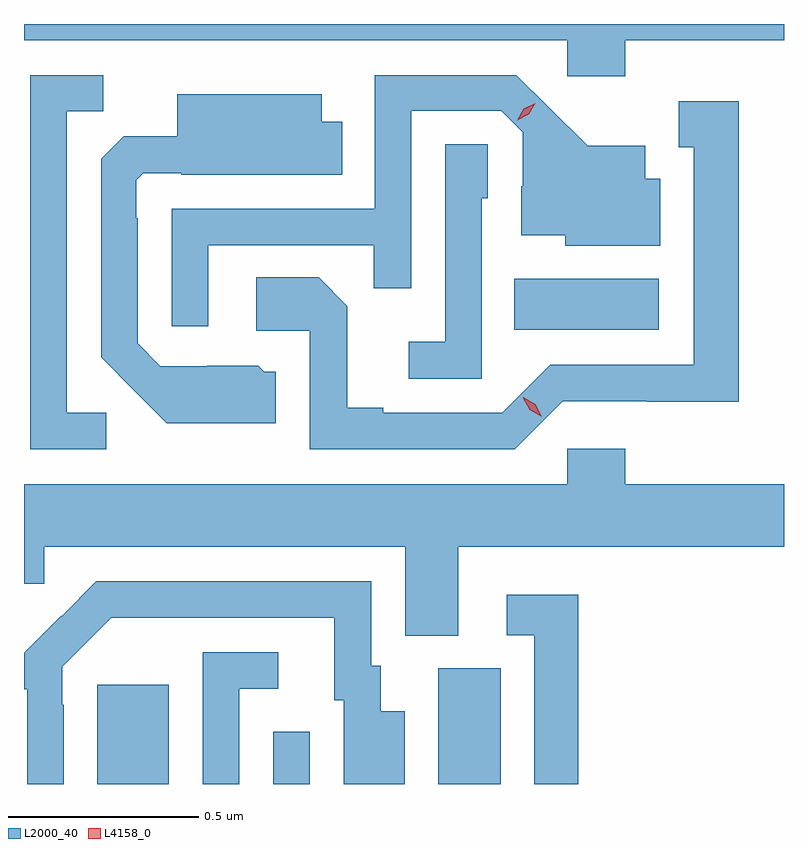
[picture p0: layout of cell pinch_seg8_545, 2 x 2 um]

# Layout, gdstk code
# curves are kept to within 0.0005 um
import gdstk
lib = gdstk.Library(unit=1e-6, precision=1e-09)
def R(c, l, rs):  # rectangles x0, y0, x1, y1
    for r in rs: c.add(gdstk.rectangle(r[:2], r[2:], *l))
def P(c, l, *ps):  # polygons
    for p in ps: c.add(gdstk.Polygon(p, *l))
L2000_40 = (2000, 40)
L4158_0 = (4158, 0)

pinch_seg8_545 = lib.new_cell('pinch_seg8_545')
R(pinch_seg8_545, L2000_40, [(118.067,1103.887,118.255,1104.148), (118.53,1103.887,118.626,1104.025), (118.964,1103.887,119.128,1104.192), (119.164,1105.082,119.545,1105.216)])
P(pinch_seg8_545, L2000_40, [(119.456,1105.844),(119.874,1105.844),(119.874,1105.887),(117.874,1105.887),(117.874,1105.844),(119.304,1105.844),(119.304,1105.749),(119.456,1105.749)],
  [(118.09,1104.864),(117.987,1104.864),(117.987,1105.657),(118.083,1105.657),(118.083,1105.752),(117.891,1105.752),(117.891,1104.768),(118.09,1104.768)],
  [(118.359,1105.305),(118.795,1105.305),(118.795,1105.192),(118.893,1105.192),(118.893,1105.659),(119.13,1105.659),(119.187,1105.602),(119.187,1105.46),(119.183,1105.46),(119.183,1105.331),(119.298,1105.331),(119.298,1105.304),(119.548,1105.304),(119.548,1105.48),(119.509,1105.48),(119.509,1105.567),(119.357,1105.567),(119.17,1105.752),(118.797,1105.752),(118.797,1105.401),(118.263,1105.401),(118.263,1105.092),(118.359,1105.092)],
  [(118.537,1104.972),(118.506,1104.972),(118.49,1104.988),(118.356,1104.988),(118.356,1104.987),(118.233,1104.987),(118.173,1105.047),(118.173,1105.376),(118.17,1105.376),(118.17,1105.476),(118.188,1105.494),(118.288,1105.494),(118.288,1105.49),(118.712,1105.49),(118.712,1105.63),(118.657,1105.63),(118.657,1105.702),(118.277,1105.702),(118.277,1105.591),(118.136,1105.591),(118.077,1105.532),(118.077,1105.01),(118.249,1104.836),(118.537,1104.836)],
  [(119.292,1104.894),(119.514,1104.894),(119.514,1104.893),(119.755,1104.893),(119.755,1105.684),(119.597,1105.684),(119.597,1105.563),(119.636,1105.563),(119.636,1104.99),(119.259,1104.99),(119.133,1104.864),(118.819,1104.864),(118.819,1104.877),(118.725,1104.877),(118.725,1105.144),(118.649,1105.22),(118.485,1105.22),(118.485,1105.08),(118.626,1105.08),(118.626,1104.768),(119.166,1104.768)],
  [(119.079,1105.428),(119.094,1105.428),(119.094,1105.571),(118.983,1105.571),(118.983,1105.051),(118.887,1105.051),(118.887,1104.954),(119.079,1104.954)],
  [(119.017,1104.512),(119.874,1104.512),(119.874,1104.676),(119.456,1104.676),(119.456,1104.769),(119.304,1104.769),(119.304,1104.676),(117.874,1104.676),(117.874,1104.414),(117.927,1104.414),(117.927,1104.512),(118.877,1104.512),(118.877,1104.277),(119.017,1104.277)],
  [(117.978,1104.095),(117.975,1104.095),(117.975,1104.195),(118.104,1104.324),(118.691,1104.324),(118.691,1104.108),(118.715,1104.108),(118.715,1103.887),(118.876,1103.887),(118.876,1104.079),(118.813,1104.079),(118.813,1104.198),(118.788,1104.198),(118.788,1104.42),(118.064,1104.42),(117.973,1104.329),(117.972,1104.33),(117.875,1104.232),(117.875,1104.137),(117.882,1104.137),(117.882,1103.887),(117.978,1103.887)],
  [(119.333,1104.385),(119.145,1104.385),(119.145,1104.279),(119.217,1104.279),(119.217,1103.887),(119.333,1103.887)],
  [(118.44,1104.138),(118.543,1104.138),(118.543,1104.234),(118.344,1104.234),(118.344,1103.887),(118.44,1103.887)])
P(pinch_seg8_545, L4158_0, [(119.236,1104.853),(119.205,1104.872),(119.187,1104.905),(119.187,1104.905),(119.188,1104.905),(119.219,1104.886),(119.236,1104.853),(119.236,1104.853)],
  [(119.172,1105.634),(119.172,1105.634),(119.189,1105.664),(119.219,1105.679),(119.22,1105.679),(119.22,1105.678),(119.202,1105.649),(119.172,1105.634)])

lib.write_gds('pinch_seg8_545.gds')
